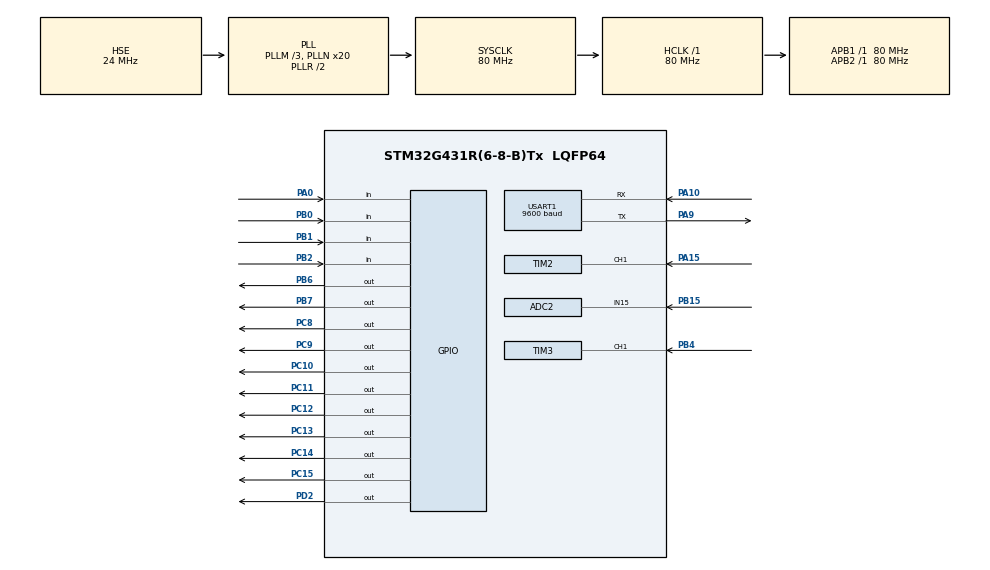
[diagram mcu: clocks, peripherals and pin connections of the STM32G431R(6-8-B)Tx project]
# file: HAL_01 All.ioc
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ADC2.Channel-2\#ChannelRegularConversion=ADC_CHANNEL_15
ADC2.NbrOfConversionFlag=1
ADC2.OffsetNumber-2\#ChannelRegularConversion=ADC_OFFSET_NONE
ADC2.Rank-2\#ChannelRegularConversion=1
ADC2.SamplingTime-2\#ChannelRegularConversion=ADC_SAMPLETIME_640CYCLES_5
Mcu.Family=STM32G4
Mcu.Name=STM32G431R(6-8-B)Tx
Mcu.Package=LQFP64
NVIC.PriorityGroup=NVIC_PRIORITYGROUP_4
NVIC.TIM2_IRQn=true\:0\:0\:false\:false\:true\:true\:true
NVIC.TIM3_IRQn=true\:0\:0\:false\:false\:true\:true\:true
NVIC.TIM6_DAC_IRQn=true\:0\:0\:false\:false\:true\:true\:true
NVIC.USART1_IRQn=true\:0\:0\:false\:false\:true\:true\:true
PA0.Signal=GPIO_Input
PA10.Mode=Asynchronous
PA10.Signal=USART1_RX
PA15.Signal=S_TIM2_CH1
PA9.Mode=Asynchronous
PA9.Signal=USART1_TX
PB0.Signal=GPIO_Input
PB1.Signal=GPIO_Input
PB15.Mode=IN15-Single-Ended
PB15.Signal=ADC2_IN15
PB2.Signal=GPIO_Input
PB4.Signal=S_TIM3_CH1
PB6.Signal=GPIO_Output
PB7.Signal=GPIO_Output
PC10.PinState=GPIO_PIN_SET
PC10.Signal=GPIO_Output
PC11.PinState=GPIO_PIN_SET
PC11.Signal=GPIO_Output
PC12.PinState=GPIO_PIN_SET
PC12.Signal=GPIO_Output
PC13.PinState=GPIO_PIN_SET
PC13.Signal=GPIO_Output
PC14-OSC32_IN.PinState=GPIO_PIN_SET
PC14-OSC32_IN.Signal=GPIO_Output
PC15-OSC32_OUT.PinState=GPIO_PIN_SET
PC15-OSC32_OUT.Signal=GPIO_Output
PC8.PinState=GPIO_PIN_SET
PC8.Signal=GPIO_Output
PC9.PinState=GPIO_PIN_SET
PC9.Signal=GPIO_Output
PD2.Signal=GPIO_Output
PF0-OSC_IN.Mode=HSE-External-Oscillator
PF0-OSC_IN.Signal=RCC_OSC_IN
PF1-OSC_OUT.Mode=HSE-External-Oscillator
PF1-OSC_OUT.Signal=RCC_OSC_OUT
ProjectManager.HeapSize=0x200
ProjectManager.StackSize=0x400
ProjectManager.TargetToolchain=MDK-ARM V5.27
RCC.ADC12Freq_Value=80000000
RCC.AHBFreq_Value=80000000
RCC.APB1Freq_Value=80000000
RCC.APB1TimFreq_Value=80000000
RCC.APB2Freq_Value=80000000
RCC.APB2TimFreq_Value=80000000
RCC.CortexFreq_Value=80000000
RCC.EXTERNAL_CLOCK_VALUE=12288000
RCC.HCLKFreq_Value=80000000
RCC.HSE_VALUE=24000000
RCC.HSI48_VALUE=48000000
RCC.HSI_VALUE=16000000
RCC.LSE_VALUE=32768
RCC.PLLM=RCC_PLLM_DIV3
RCC.PLLN=20
RCC.PLLSourceVirtual=RCC_PLLSOURCE_HSE
RCC.SYSCLKFreq_VALUE=80000000
RCC.SYSCLKSource=RCC_SYSCLKSOURCE_PLLCLK
RCC.USBFreq_Value=80000000
RCC.VCOOutputFreq_Value=160000000
RTC.Hours=23
RTC.Minutes=59
RTC.Seconds=59
SH.S_TIM2_CH1.0=TIM2_CH1,PWM_Input_1
SH.S_TIM3_CH1.0=TIM3_CH1,Input_Capture1_from_TI1
TIM2.AutoReloadPreload=TIM_AUTORELOAD_PRELOAD_ENABLE
TIM2.PeriodNoDither=65535
TIM2.Prescaler=79
TIM3.AutoReloadPreload=TIM_AUTORELOAD_PRELOAD_ENABLE
TIM3.Channel-Input_Capture1_from_TI1=TIM_CHANNEL_1
TIM3.Prescaler=79
TIM6.AutoReloadPreload=TIM_AUTORELOAD_PRELOAD_ENABLE
TIM6.PeriodNoDither=999
TIM6.Prescaler=79
USART1.BaudRate=9600
USART1.VirtualMode-Asynchronous=VM_ASYNC
VP_RTC_VS_RTC_Activate.Mode=RTC_Enabled
VP_RTC_VS_RTC_Calendar.Mode=RTC_Calendar
VP_SYS_VS_DBSignals.Mode=DisableDeadBatterySignals
VP_TIM2_VS_ClockSourceINT.Mode=Internal
VP_TIM3_VS_ClockSourceINT.Mode=Internal
VP_TIM6_VS_ClockSourceINT.Mode=Enable_Timer
board=custom

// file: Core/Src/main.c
/* USER CODE BEGIN Header */
/**
  ******************************************************************************
  * @file           : main.c
  * @brief          : Main program body
  ******************************************************************************
  * @attention
  *
  * <h2><center>&copy; Copyright (c) 2024 STMicroelectronics.
  * All rights reserved.</center></h2>
  *
  * This software component is licensed by ST under BSD 3-Clause license,
  * the "License"; You may not use this file except in compliance with the
  * License. You may obtain a copy of the License at:
  *                        opensource.org/licenses/BSD-3-Clause
  *
  ******************************************************************************
  */
/* USER CODE END Header */
#include "main.h"
#include "adc.h"
#include "rtc.h"
#include "tim.h"
#include "usart.h"
#include "gpio.h"

/* USER CODE BEGIN Includes */
#include "lcd.h"
#include "led.h"
#include <stdio.h>
#include "i2c_hal.h"

/* USER CODE END Includes */

/* USER CODE BEGIN PTD */
typedef enum
{
	Key_Check,
	Key_Press,
	Key_Release,
	Key_Over
}Key_State;
/* USER CODE END PTD */

/* USER CODE BEGIN PD */
#define K1 HAL_GPIO_ReadPin(GPIOB, GPIO_PIN_0)
#define K2 HAL_GPIO_ReadPin(GPIOB, GPIO_PIN_1)
#define K3 HAL_GPIO_ReadPin(GPIOB, GPIO_PIN_2)
#define K4 HAL_GPIO_ReadPin(GPIOA, GPIO_PIN_0)

#define Press GPIO_PIN_RESET
#define Release GPIO_PIn_SET
/* USER CODE END PD */

/* USER CODE BEGIN PV */
uint8_t Str[20], Num, RX[10];
uint8_t ShowTime[9] = "HH:MM:SS";
uint8_t ShowDate[11] = "YYYY:MM:DD";
Key_State KeyState = Key_Check;
uint8_t KeyNum;
uint16_t Key_Press_Time = 20, Flag, Freq_Value_3, Freq_Value_2, Duty_Value_2, Duty_2;
float Freq_3, Freq_2;
/* USER CODE END PV */

void SystemClock_Config(void);
/* USER CODE BEGIN PFP */
void Key_Scan(void);

/* USER CODE END PFP */

/* USER CODE BEGIN 0 */
float getADC_R37(void);
void RTC_Show(void);
void RTC_Set(uint8_t YYYY, uint8_t OO, uint8_t DD, uint8_t HH, uint8_t MM, uint8_t SS);

void HAL_TIM_PeriodElapsedCallback(TIM_HandleTypeDef *htim)
{
	if(++Flag == 1000)
	{
		Flag = 0;
		LED_TRG(8);
	}
}

void HAL_UART_RxCpltCallback(UART_HandleTypeDef *huart)
{
	HAL_UART_Transmit_IT(&huart1, RX, 10);
	LCD_DisplayStringLine(Line0, RX);
	HAL_UART_Receive_IT(&huart1, RX, 10);
}

void HAL_TIM_IC_CaptureCallback(TIM_HandleTypeDef *htim)
{
	if(htim -> Instance == TIM3)
	{
		Freq_Value_3 = __HAL_TIM_GET_COUNTER(&htim3);
		__HAL_TIM_SetCounter(&htim3, 0);
		Freq_3 = 1000000.0f / Freq_Value_3;
		HAL_TIM_IC_Start_IT(&htim3, TIM_CHANNEL_1);
	}
	else if(htim -> Instance == TIM2)
	{
		if(htim -> Channel == HAL_TIM_ACTIVE_CHANNEL_1)
		{
			Freq_Value_2 = HAL_TIM_ReadCapturedValue(&htim2, TIM_CHANNEL_1);
			Freq_2 = 1000000.0f / Freq_Value_2;
		}
		else if(htim -> Channel == HAL_TIM_ACTIVE_CHANNEL_2)
		{
			Duty_Value_2 = HAL_TIM_ReadCapturedValue(&htim2, TIM_CHANNEL_2);
			Duty_2 = Duty_Value_2 * 100 / Freq_Value_2;
		}
	}
}
/* USER CODE END 0 */

int main(void)
{

  /* MCU Configuration--------------------------------------------------------*/

  /* Reset of all peripherals, Initializes the Flash interface and the Systick. */
  HAL_Init();

  /* Configure the system clock */
  SystemClock_Config();

  /* Initialize all configured peripherals */
  MX_GPIO_Init();
  MX_ADC2_Init();
  MX_RTC_Init();
  MX_TIM6_Init();
  MX_USART1_UART_Init();
  MX_TIM3_Init();
  MX_TIM2_Init();
  /* USER CODE BEGIN 2 */
  LED_Init();

  LCD_Init();
  LCD_Clear(Black);
  LCD_SetBackColor(Black);
  LCD_SetTextColor(White);

  HAL_TIM_Base_Start_IT(&htim6);
  __HAL_TIM_CLEAR_IT(&htim6, TIM_IT_UPDATE);

  HAL_UART_Receive_IT(&huart1, RX, 10);

  HAL_TIM_IC_Start_IT(&htim3, TIM_CHANNEL_1);

  HAL_TIM_IC_Start_IT(&htim2, TIM_CHANNEL_1);
  HAL_TIM_IC_Start_IT(&htim2, TIM_CHANNEL_2);

//  x24C02_Write(0x01, 0);

  Num = x24C02_Read(0x01);
  x24C02_Write(0x01, Num + 1);
  sprintf((char *)Str, "Num:%d", Num);
  LCD_DisplayStringLine(Line3, (uint8_t *)Str);

  RTC_Set(24, 5, 20, 20, 55, 59);
  /* USER CODE END 2 */

  /* Infinite loop */
  /* USER CODE BEGIN WHILE */
  while (1)
  {
	  sprintf((char *)Str, "ADC:%.2fV", getADC_R37());
	  LCD_DisplayStringLine(Line5, (uint8_t *)Str);

	  sprintf((char *)Str, "Freq_3:%.2fHz", Freq_3);
	  LCD_DisplayStringLine(Line6, (uint8_t *)Str);
	  sprintf((char *)Str, "Duty_2:%d%%", Duty_2);
	  LCD_DisplayStringLine(Line7, (uint8_t *)Str);

	  if(KeyState == Key_Over)
	  {
		  KeyState = Key_Check;
		  if(KeyNum == 1)
		  {
			  LED_ON(7);
		  }
		  else if(KeyNum == 2 && Key_Press_Time >= 1000)
		  {
			  LED_OFF(7);
		  }
		  else if(KeyNum == 3)
		  {

		  }
		  else if(KeyNum == 4)
		  {

		  }
		  Key_Press_Time = 0;
	  }

	  RTC_Show();

    /* USER CODE END WHILE */

  }
}

void SystemClock_Config(void)
{
  RCC_OscInitTypeDef RCC_OscInitStruct = {0};
  RCC_ClkInitTypeDef RCC_ClkInitStruct = {0};
  RCC_PeriphCLKInitTypeDef PeriphClkInit = {0};

  /** Configure the main internal regulator output voltage
  */
  HAL_PWREx_ControlVoltageScaling(PWR_REGULATOR_VOLTAGE_SCALE1);
  /** Initializes the RCC Oscillators according to the specified parameters
  * in the RCC_OscInitTypeDef structure.
  */
  RCC_OscInitStruct.OscillatorType = RCC_OSCILLATORTYPE_LSI|RCC_OSCILLATORTYPE_HSE;
  RCC_OscInitStruct.HSEState = RCC_HSE_ON;
  RCC_OscInitStruct.LSIState = RCC_LSI_ON;
  RCC_OscInitStruct.PLL.PLLState = RCC_PLL_ON;
  RCC_OscInitStruct.PLL.PLLSource = RCC_PLLSOURCE_HSE;
  RCC_OscInitStruct.PLL.PLLM = RCC_PLLM_DIV3;
  RCC_OscInitStruct.PLL.PLLN = 20;
  RCC_OscInitStruct.PLL.PLLP = RCC_PLLP_DIV2;
  RCC_OscInitStruct.PLL.PLLQ = RCC_PLLQ_DIV2;
  RCC_OscInitStruct.PLL.PLLR = RCC_PLLR_DIV2;
  if (HAL_RCC_OscConfig(&RCC_OscInitStruct) != HAL_OK)
  {
    Error_Handler();
  }
  /** Initializes the CPU, AHB and APB buses clocks
  */
  RCC_ClkInitStruct.ClockType = RCC_CLOCKTYPE_HCLK|RCC_CLOCKTYPE_SYSCLK
                              |RCC_CLOCKTYPE_PCLK1|RCC_CLOCKTYPE_PCLK2;
  RCC_ClkInitStruct.SYSCLKSource = RCC_SYSCLKSOURCE_PLLCLK;
  RCC_ClkInitStruct.AHBCLKDivider = RCC_SYSCLK_DIV1;
  RCC_ClkInitStruct.APB1CLKDivider = RCC_HCLK_DIV1;
  RCC_ClkInitStruct.APB2CLKDivider = RCC_HCLK_DIV1;

  if (HAL_RCC_ClockConfig(&RCC_ClkInitStruct, FLASH_LATENCY_2) != HAL_OK)
  {
    Error_Handler();
  }
  /** Initializes the peripherals clocks
  */
  PeriphClkInit.PeriphClockSelection = RCC_PERIPHCLK_RTC|RCC_PERIPHCLK_USART1
                              |RCC_PERIPHCLK_ADC12;
  PeriphClkInit.Usart1ClockSelection = RCC_USART1CLKSOURCE_PCLK2;
  PeriphClkInit.Adc12ClockSelection = RCC_ADC12CLKSOURCE_SYSCLK;
  PeriphClkInit.RTCClockSelection = RCC_RTCCLKSOURCE_LSI;

  if (HAL_RCCEx_PeriphCLKConfig(&PeriphClkInit) != HAL_OK)
  {
    Error_Handler();
  }
}

/* USER CODE BEGIN 4 */
float getADC_R37(void)
{
	uint16_t adc;
	HAL_ADC_Start(&hadc2);
	HAL_ADC_PollForConversion(&hadc2, 10);
	adc = HAL_ADC_GetValue(&hadc2);
	HAL_ADC_Stop(&hadc2);
	return adc * 3.3f / 4096;
}

void RTC_Show(void)
{
	RTC_TimeTypeDef sTimeStructure;
	RTC_DateTypeDef sDateStructure;

	HAL_RTC_GetTime(&hrtc, &sTimeStructure, RTC_FORMAT_BIN);
	HAL_RTC_GetDate(&hrtc, &sDateStructure, RTC_FORMAT_BIN);

	sprintf((char *)ShowTime, "%2d:%2d:%2d", sTimeStructure.Hours, sTimeStructure.Minutes, sTimeStructure.Seconds);
	LCD_DisplayStringLine(Line8, ShowTime);
	sprintf((char *)ShowDate, "%2d:%2d:%2d", 2000 + sDateStructure.Year, sDateStructure.Month, sDateStructure.Date);
	LCD_DisplayStringLine(Line9, ShowDate);
}

void RTC_Set(uint8_t YYYY, uint8_t OO, uint8_t DD, uint8_t HH, uint8_t MM, uint8_t SS)
{
	RTC_TimeTypeDef sTime = {0};
	RTC_DateTypeDef sDate = {0};

	sTime.Hours = HH;
	sTime.Minutes = MM;
	sTime.Seconds = SS;

	sDate.Year = YYYY;
	sDate.Month = OO;
	sDate.Date = DD;

	HAL_RTC_SetTime(&hrtc, &sTime, RTC_FORMAT_BIN);
	HAL_RTC_SetDate(&hrtc, &sDate, RTC_FORMAT_BIN);
}

void Key_Scan(void)
{
	switch (KeyState)
	{
		case Key_Check:
		{
			if(K1 == Press || K2 == Press || K3 == Press || K4 == Press)
			{
				KeyState = Key_Press;
			}
		}
		break;
		case Key_Press:
		{
			if(K1 == Press)KeyNum = 1;
			else if(K2 == Press)KeyNum = 2;
			else if(K3 == Press)KeyNum = 3;
			else if(K4 == Press)KeyNum = 4;
			KeyState = Key_Release;
		}
		break;
		case Key_Release:
		{
			if(K1 == Press || K2 == Press || K3 == Press || K4 == Press)
			{
				Key_Press_Time += 10;
			}
			else
			{
				KeyState = Key_Over;
			}
		}
		break;
		default:
		break;
	}
}
/* USER CODE END 4 */

void Error_Handler(void)
{
  __disable_irq();
  while (1)
  {
  }
}

/************************ (C) COPYRIGHT STMicroelectronics *****END OF FILE****/
